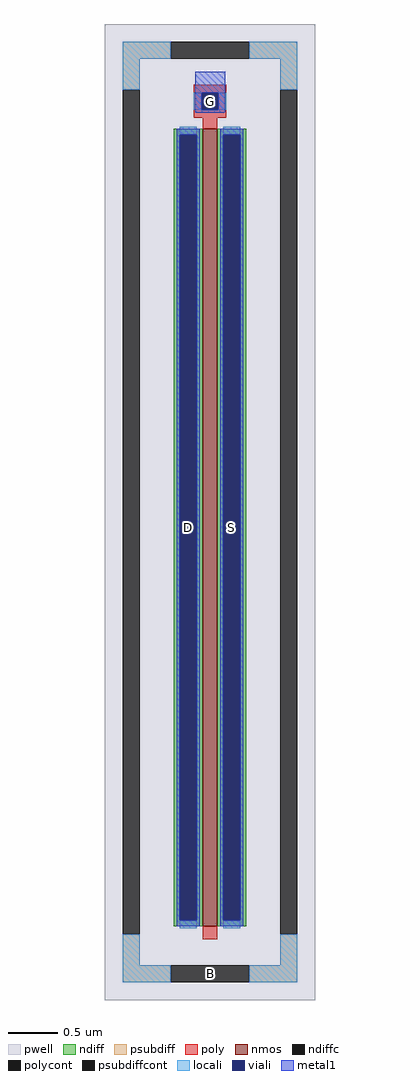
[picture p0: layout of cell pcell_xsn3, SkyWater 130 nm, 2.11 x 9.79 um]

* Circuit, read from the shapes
.subckt pcell_xsn3 B D S G
XM1 S G D B sky130_fd_pr__nfet_01v8 w=8 l=0.15
.ends

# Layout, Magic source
magic
tech sky130A
magscale 1 2
<< pwell >>
rect -211 -979 211 979
<< nmos >>
rect -15 -831 15 769
<< ndiff >>
rect -73 757 -15 769
rect -73 -819 -61 757
rect -27 -819 -15 757
rect -73 -831 -15 -819
rect 15 757 73 769
rect 15 -819 27 757
rect 61 -819 73 757
rect 15 -831 73 -819
<< ndiffc >>
rect -61 -819 -27 757
rect 27 -819 61 757
<< psubdiff >>
rect -175 909 -79 943
rect 79 909 175 943
rect -175 847 -141 909
rect 141 847 175 909
rect -175 -909 -141 -847
rect 141 -909 175 -847
rect -175 -943 -79 -909
rect 79 -943 175 -909
<< psubdiffcont >>
rect -79 909 79 943
rect -175 -847 -141 847
rect 141 -847 175 847
rect -79 -943 79 -909
<< poly >>
rect -33 841 33 857
rect -33 807 -17 841
rect 17 807 33 841
rect -33 791 33 807
rect -15 769 15 791
rect -15 -857 15 -831
<< polycont >>
rect -17 807 17 841
<< locali >>
rect -175 909 -79 943
rect 79 909 175 943
rect -175 847 -141 909
rect 141 847 175 909
rect -33 807 -17 841
rect 17 807 33 841
rect -61 757 -27 773
rect -61 -835 -27 -819
rect 27 757 61 773
rect 27 -835 61 -819
rect -175 -909 -141 -847
rect 141 -909 175 -847
rect -175 -943 -79 -909
rect 79 -943 175 -909
<< viali >>
rect -17 807 17 841
rect -61 -819 -27 757
rect 27 -819 61 757
<< metal1 >>
rect -30 841 31 883
rect -30 807 -17 841
rect 17 807 31 841
rect -30 802 31 807
rect -29 801 29 802
rect -67 757 -21 769
rect -67 -819 -61 757
rect -27 -819 -21 757
rect -67 -831 -21 -819
rect 21 757 67 769
rect 21 -819 27 757
rect 61 -819 67 757
rect 21 -831 67 -819
<< labels >>
rlabel psubdiffcont 0 -926 0 -926 0 B
port 1 nsew
rlabel ndiffc -44 -31 -44 -31 0 D
port 2 nsew
rlabel ndiffc 44 -31 44 -31 0 S
port 3 nsew
rlabel polycont 0 824 0 824 0 G
port 4 nsew
<< end >>
